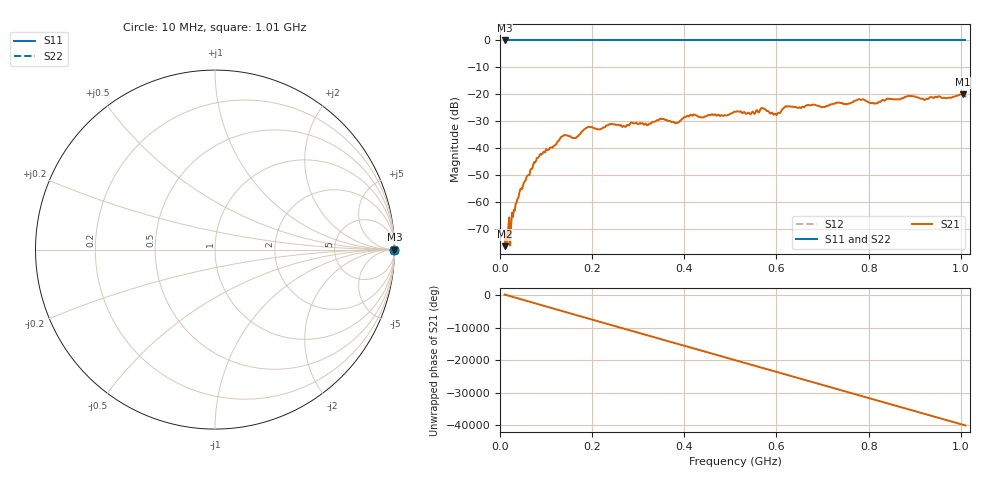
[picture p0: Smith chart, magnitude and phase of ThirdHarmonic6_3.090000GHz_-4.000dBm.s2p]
! 8/17/2025 9:05:03 AM
! C:\ANRITSUVNA\TEMP\TEMP.S2P
! CHANNEL.1
! TR.MEASUREMENT
! RAW.DATA
! RF.CORRECTION.OFF
! AVERAGING.OFF
! IF.BANDWIDTH: 5KHZ
! SWEEPTYPE:  FREQ.SWEEP(Linear)
! Reference Plane Port Info
! PORT:  PORT1  PORT2
! DISTANCE:  0  m  0  m
! TIME:  0  s  0  s
! PHASE.OFFSET:  0  deg.  0  deg.
! LOSS:  0  dB  0  dB
! REF.LOSS:  0  dB  0  dB
! REF.FREQ:  0  Hz  0  Hz
! Power Info
! POWER:  -20  dBm  -20  dBm
! EFF.POWER:  -20  dBm  -20  dBm
! SOURCE.ATTEN:  0  dB  0  dB
! TEST.ATTEN:  0  dB  0  dB
# GHZ S RI R 50.0
! FREQ.GHZ  S11RE  S11IM  S21RE  S21IM  S12RE  S12IM  S22RE  S22IM
!; PortSelection: Port_12
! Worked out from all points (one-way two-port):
!   501 points, 10 MHz to 1.01 GHz, reference 50 ohm
!   highest |S21| = -19.93 dB at 1.004 GHz (marker M1); lowest = -76.3 dB at 10 MHz (marker M2)
!   lowest |S11| = 0.0 dB at 10 MHz (marker M3)
!   |S11| at or under -10 dB: nowhere
!   |S22| runs from 0.0 to 0.0 dB; largest |S21 - S12| = 1.1
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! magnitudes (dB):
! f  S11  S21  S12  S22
! 10 MHz  0.0  -76.3  0.0  0.0
! 16 MHz  0.0  -75.0  0.0  0.0
! 20 MHz  0.0  -65.6  0.0  0.0
! 30 MHz  0.0  -62.9  0.0  0.0
! 42 MHz  0.0  -56.5  0.0  0.0
! 78 MHz  0.0  -44.7  0.0  0.0
! 136 MHz  0.0  -35.6  0.0  0.0
! 162 MHz  0.0  -36.3  0.0  0.0
! 178 MHz  0.0  -33.8  0.0  0.0
! 194 MHz  0.0  -32.1  0.0  0.0
! 322 MHz  0.0  -31.2  0.0  0.0
! 344 MHz  0.0  -29.6  0.0  0.0
! 384 MHz  0.0  -30.5  0.0  0.0
! 416 MHz  0.0  -27.8  0.0  0.0
! 510 MHz  0.0  -26.5  0.0  0.0
! 570 MHz  0.0  -25.1  0.0  0.0
! 598 MHz  0.0  -27.2  0.0  0.0
! 622 MHz  0.0  -24.6  0.0  0.0
! 678 MHz  0.0  -23.9  0.0  0.0
! 844 MHz  0.0  -21.6  0.0  0.0
! 1.004 GHz  0.0  -19.9  0.0  0.0
! 1.01 GHz  0.0  -20.7  0.0  0.0
